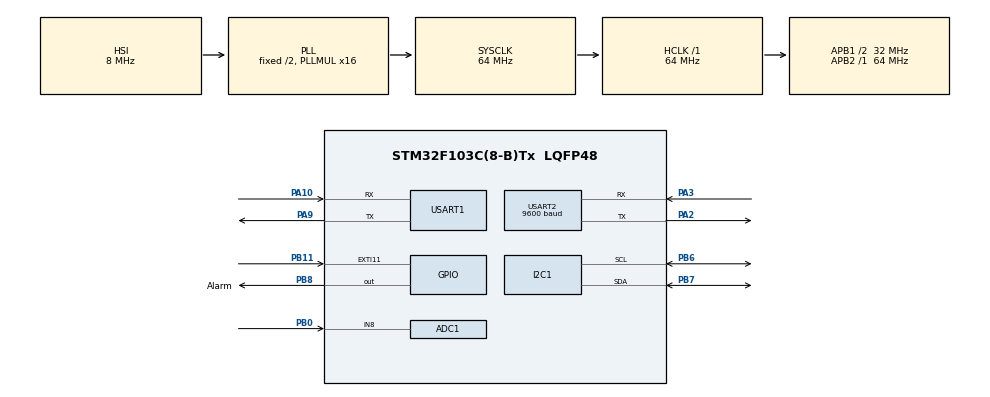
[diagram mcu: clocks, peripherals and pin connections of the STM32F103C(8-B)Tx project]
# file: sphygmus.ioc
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ADC1.Channel-1\#ChannelRegularConversion=ADC_CHANNEL_8
ADC1.EnableAnalogWatchDog=false
ADC1.NbrOfConversionFlag=1
ADC1.Rank-1\#ChannelRegularConversion=1
ADC1.SamplingTime-1\#ChannelRegularConversion=ADC_SAMPLETIME_1CYCLE_5
ADC1.master=1
I2C1.I2C_Mode=I2C_Fast
Mcu.Family=STM32F1
Mcu.Name=STM32F103C(8-B)Tx
Mcu.Package=LQFP48
NVIC.ADC1_2_IRQn=true\:0\:0\:true\:false\:true\:true\:true\:true
NVIC.EXTI15_10_IRQn=true\:7\:0\:true\:false\:true\:true\:true\:true
NVIC.PriorityGroup=NVIC_PRIORITYGROUP_4
NVIC.TIM1_UP_IRQn=true\:7\:0\:true\:false\:true\:true\:true\:true
NVIC.USART1_IRQn=true\:2\:0\:true\:false\:true\:true\:true\:true
NVIC.USART2_IRQn=true\:2\:0\:true\:false\:true\:true\:true\:true
PA10.Mode=Asynchronous
PA10.Signal=USART1_RX
PA13.Mode=Serial_Wire
PA13.Signal=SYS_JTMS-SWDIO
PA14.Mode=Serial_Wire
PA14.Signal=SYS_JTCK-SWCLK
PA2.Mode=Asynchronous
PA2.Signal=USART2_TX
PA3.Mode=Asynchronous
PA3.Signal=USART2_RX
PA9.Mode=Asynchronous
PA9.Signal=USART1_TX
PB0.Signal=ADCx_IN8
PB11.GPIO_ModeDefaultEXTI=GPIO_MODE_IT_FALLING
PB11.Signal=GPXTI11
PB6.Mode=I2C
PB6.Signal=I2C1_SCL
PB7.Mode=I2C
PB7.Signal=I2C1_SDA
PB8.GPIO_Label=Alarm
PB8.PinState=GPIO_PIN_RESET
PB8.Signal=GPIO_Output
ProjectManager.HeapSize=0x200
ProjectManager.StackSize=0x400
ProjectManager.TargetToolchain=MDK-ARM V5
RCC.ADCPresc=RCC_ADCPCLK2_DIV6
RCC.AHBFreq_Value=64000000
RCC.APB1CLKDivider=RCC_HCLK_DIV2
RCC.APB1Freq_Value=32000000
RCC.APB1TimFreq_Value=64000000
RCC.APB2Freq_Value=64000000
RCC.APB2TimFreq_Value=64000000
RCC.HCLKFreq_Value=64000000
RCC.PLLMUL=RCC_PLL_MUL16
RCC.SYSCLKFreq_VALUE=64000000
RCC.SYSCLKSource=RCC_SYSCLKSOURCE_PLLCLK
RCC.USBFreq_Value=64000000
SH.ADCx_IN8.0=ADC1_IN8,IN8
TIM1.AutoReloadPreload=TIM_AUTORELOAD_PRELOAD_ENABLE
TIM1.Period=999
TIM1.Prescaler=63
TIM2.AutoReloadPreload=TIM_AUTORELOAD_PRELOAD_DISABLE
TIM2.Period=1
TIM2.Prescaler=4
USART1.VirtualMode=VM_ASYNC
USART2.BaudRate=9600
USART2.VirtualMode=VM_ASYNC
VP_TIM1_VS_ClockSourceINT.Mode=Internal
VP_TIM2_VS_ClockSourceINT.Mode=Internal
board=custom

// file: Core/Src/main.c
/* USER CODE BEGIN Header */
/**
 ******************************************************************************
 * @file           : main.c
 * @brief          : Main program body
 ******************************************************************************
 * @attention
 *
 * Copyright (c) 2023 STMicroelectronics.
 * All rights reserved.
 *
 * This software is licensed under terms that can be found in the LICENSE file
 * in the root directory of this software component.
 * If no LICENSE file comes with this software, it is provided AS-IS.
 *
 ******************************************************************************
 */
/* USER CODE END Header */
#include "main.h"
#include "adc.h"
#include "i2c.h"
#include "tim.h"
#include "usart.h"
#include "gpio.h"

/* USER CODE BEGIN Includes */
#include <stdio.h>
#include "oled.h"

/* USER CODE END Includes */

/* USER CODE BEGIN PD */
#define MINLISTSIZE 15
#define MAXLISTSIZE 60
#define MAXTIME 100000
#define MAXSPHYFMUS 150
#define MINSPHYFMUS 50
#define UART1TIME 20
#define UART2TIME 2000
#define ADC1TIME 20
#define CLOSETIME 5000
#define MIN_DELTA 333
#define MAX_DELTA 1000
#define MAX_DELTA_DELTA 250
/* USER CODE END PD */

/* USER CODE BEGIN PV */
int too_high;                       // 报警标志
int too_low;                        // 报警标志
int is_open = 0;                    // 是否开机
int is_closed = 0;                  // 是否已经关机
int heart_beat = 0;                 // 心跳标志
uint8_t sphygmus_num;               // 测试到的心跳次数
uint16_t adc_value;                 // adc采样值
uint16_t last_value;                // 上个adc采样值
uint32_t time;                      // 当前时间
uint32_t l_time;                    // 上次心跳时间
double sphygmus;                    // 脉搏
uint32_t delta_time_list[MAXLISTSIZE]; // 脉搏间的时间间隔列表
UART_HandleTypeDef current_uart;    // 当前使用的串口
/* USER CODE END PV */

void SystemClock_Config(void);

/* USER CODE BEGIN 0 */

// 初始化
void init(void);

// 获取时间间隔
uint32_t get_delta_time(void);

// 微妙级延时
void delay_us(uint32_t nus);

// 输出
int fputc(int ch, FILE *f);

// adc采样
void adc_sample(void);

// 脉搏间隔平均值
double average(void);

// 添加时间间隔
void add_delta_time(void);

// 获取脉搏
void get_sphygmus(void);

// 数字转换为字符串
char *to_string(uint32_t num, char *str, int size);

// oled显示
void display(void);

// 报警
void give_alarm(void);

// 关机
void on_close(void);

// 开机
void start(void);
/* USER CODE END 0 */

int main(void)
{

  /* MCU Configuration--------------------------------------------------------*/

  /* Reset of all peripherals, Initializes the Flash interface and the Systick. */
  HAL_Init();

  /* Configure the system clock */
  SystemClock_Config();

  /* Initialize all configured peripherals */
  MX_GPIO_Init();
  MX_ADC1_Init();
  MX_TIM2_Init();
  MX_USART1_UART_Init();
  MX_USART2_UART_Init();
  MX_TIM1_Init();
  MX_I2C1_Init();
  /* USER CODE BEGIN 2 */
  is_open = 0;
  init();
  HAL_ADC_Start_IT(&hadc1);
  /* USER CODE END 2 */

  /* Infinite loop */
  while (1)
  {

    /* USER CODE BEGIN 3 */
    if (is_open)
    {
      display();
      give_alarm();
      get_sphygmus();
    }
    else if (!is_closed)
    {
      OLED_Clear(0x00);
      HAL_GPIO_WritePin(GPIOC, Alarm_Pin, GPIO_PIN_SET);
      is_closed = 1;
      sphygmus_num = 0;
    }
    // HAL_I2C_Master_Transmit(&hi2c1,0x78,i2cbuf,sizeof(i2cbuf),1000);
  }
  /* USER CODE END 3 */
}

void SystemClock_Config(void)
{
  RCC_OscInitTypeDef RCC_OscInitStruct = {0};
  RCC_ClkInitTypeDef RCC_ClkInitStruct = {0};
  RCC_PeriphCLKInitTypeDef PeriphClkInit = {0};

  /** Initializes the RCC Oscillators according to the specified parameters
  * in the RCC_OscInitTypeDef structure.
  */
  RCC_OscInitStruct.OscillatorType = RCC_OSCILLATORTYPE_HSI;
  RCC_OscInitStruct.HSIState = RCC_HSI_ON;
  RCC_OscInitStruct.HSICalibrationValue = RCC_HSICALIBRATION_DEFAULT;
  RCC_OscInitStruct.PLL.PLLState = RCC_PLL_ON;
  RCC_OscInitStruct.PLL.PLLSource = RCC_PLLSOURCE_HSI_DIV2;
  RCC_OscInitStruct.PLL.PLLMUL = RCC_PLL_MUL16;
  if (HAL_RCC_OscConfig(&RCC_OscInitStruct) != HAL_OK)
  {
    Error_Handler();
  }

  /** Initializes the CPU, AHB and APB buses clocks
  */
  RCC_ClkInitStruct.ClockType = RCC_CLOCKTYPE_HCLK|RCC_CLOCKTYPE_SYSCLK
                              |RCC_CLOCKTYPE_PCLK1|RCC_CLOCKTYPE_PCLK2;
  RCC_ClkInitStruct.SYSCLKSource = RCC_SYSCLKSOURCE_PLLCLK;
  RCC_ClkInitStruct.AHBCLKDivider = RCC_SYSCLK_DIV1;
  RCC_ClkInitStruct.APB1CLKDivider = RCC_HCLK_DIV2;
  RCC_ClkInitStruct.APB2CLKDivider = RCC_HCLK_DIV1;

  if (HAL_RCC_ClockConfig(&RCC_ClkInitStruct, FLASH_LATENCY_2) != HAL_OK)
  {
    Error_Handler();
  }
  PeriphClkInit.PeriphClockSelection = RCC_PERIPHCLK_ADC;
  PeriphClkInit.AdcClockSelection = RCC_ADCPCLK2_DIV6;
  if (HAL_RCCEx_PeriphCLKConfig(&PeriphClkInit) != HAL_OK)
  {
    Error_Handler();
  }
}

/* USER CODE BEGIN 4 */
// adc中断
void HAL_ADC_ConvCpltCallback(ADC_HandleTypeDef *hadc)
{
  last_value = adc_value;
  adc_value = HAL_ADC_GetValue(&hadc1);
}

// 定时器中断
void HAL_TIM_PeriodElapsedCallback(TIM_HandleTypeDef *htim)
{
  if (htim == (&htim1))
  {
    time++;
    if (time > MAXTIME)
    {
      time = 0;
    }
    if (is_open)
    {
      // 测量一次
      if (time % ADC1TIME == 0)
      {
        HAL_ADC_Start_IT(&hadc1);
      }

      // 串口1输出
      if (time % UART1TIME == 0)
      {
        current_uart = huart1;
        printf("%d %f\r\n", adc_value,sphygmus);
        // printf("%d,%f\n", adc_value, sphygmus);
      }

      // 串口2输出
      if (time % UART2TIME == 0)
      {
        current_uart = huart2;
        // printf("%f\n", average());
        printf("%f\r\n", sphygmus);
      }

      if (get_delta_time() > CLOSETIME)
      {
        on_close();
      }
    }
  }
}

// 外部中断（用于测量脉搏）
void HAL_GPIO_EXTI_Callback(uint16_t GPIO_Pin)
{
  if (GPIO_Pin & GPIO_PIN_11)
  {
    if (!is_open&&sphygmus_num>2)
    {
      start();
      l_time = time;
			sphygmus_num=0;
    }

    //HAL_GPIO_TogglePin(GPIOC, GPIO_PIN_13);
    add_delta_time();
    heart_beat = 1;
    l_time = time;
  }
}

// 初始化
void init()
{
  for (int i = 0; i < MAXLISTSIZE; i++)
  {
    delta_time_list[i] = 0;
  }
  HAL_ADC_Start_IT(&hadc1);
  HAL_TIM_Base_Start_IT(&htim1);
  HAL_ADCEx_Calibration_Start(&hadc1);
  current_uart = huart1;
  Oled_Init();
  sphygmus_num = 0;
}

// 获取时间间隔
uint32_t get_delta_time()
{
  uint32_t delta_time;
  if (time < l_time)
  {
    delta_time = MAXTIME - l_time + time;
  }
  else
  {
    delta_time = time - l_time;
  }
  return delta_time;
}

// 微妙级延时
void delay_us(uint32_t nus)
{
  __HAL_TIM_SET_COUNTER(&htim2, 0);
  __HAL_TIM_ENABLE(&htim2);
  while (__HAL_TIM_GET_COUNTER(&htim2) < nus)
  {
  }
  __HAL_TIM_DISABLE(&htim2);
}

// oled显示
void display()
{
  static char buf[] = {"rate: "};
  static char buf1[] = {"rate:"};
  static char sphygmus_str[5];

  Oled_Display_String(0, 80, buf1);
  Oled_Display_Pic(50, 50, 0, 15, heart_small);
  Oled_Display_String(0, 80, buf);
  Oled_Display_String(3, 80, to_string(sphygmus, sphygmus_str, 5));
  if (heart_beat)
  {
    heart_beat = 0;
    Oled_Display_Pic(50, 50, 0, 15, heart_large);
  }
}

// 报警
void give_alarm()
{
  static char low[] = {"too low "};
  static char high[] = {"too high"};
  static char normal[] = {"        "};
  if (too_high && is_open)
  {
    HAL_GPIO_WritePin(GPIOB, Alarm_Pin,GPIO_PIN_SET );
    Oled_Display_String(6, 10, high);
  }
  else if (too_low && is_open)
  {
    HAL_GPIO_WritePin(GPIOB, Alarm_Pin, GPIO_PIN_SET);
    Oled_Display_String(6, 10, low);
  }
  else
  {
    HAL_GPIO_WritePin(GPIOB, Alarm_Pin,GPIO_PIN_RESET );
    Oled_Display_String(6, 10, normal);
  }
}

// 关机
void on_close()
{
  is_open = 0;
  is_closed = 0;
}

// 开机
void start()
{
  is_open = 1;
  for (int i = 0; i < MAXLISTSIZE; i++)
  {
    delta_time_list[i] = 0;
  }
  // Oled_Init();
}

// 输出
int fputc(int ch, FILE *f)
{
  HAL_UART_Transmit(&current_uart, (uint8_t *)&ch, 1, 10);
  return ch;
}

// adc采样
void adc_sample()
{
  HAL_ADC_Start(&hadc1);
  HAL_ADC_PollForConversion(&hadc1, 10);
}

// 脉搏间隔平均值
double average()
{
  uint32_t sum = 0;
  for (uint8_t i = 0; i < MAXLISTSIZE; i++)
  {
    sum += delta_time_list[i];
  }
  int num = sphygmus_num > MAXLISTSIZE ? MAXLISTSIZE : sphygmus_num;
  return (float)sum / num;
}

// 添加时间间隔
void add_delta_time()
{
  uint32_t delta_time = get_delta_time();
  if (delta_time < MIN_DELTA || delta_time > MAX_DELTA)
  {
    return;
  }

  int delta_delta = delta_time > delta_time_list[MAXLISTSIZE - 1] ? delta_time - delta_time_list[MAXLISTSIZE - 1] : delta_time_list[MAXLISTSIZE - 1] - delta_time;
  if (sphygmus_num >= MINLISTSIZE && delta_delta > MAX_DELTA_DELTA)
  {
    return;
  }

  for (int i = 0; i < MAXLISTSIZE - 1; i++)
  {
    delta_time_list[i] = delta_time_list[i + 1];
  }
  delta_time_list[MAXLISTSIZE - 1] = delta_time;
  sphygmus_num++;
}

// 获取脉搏
void get_sphygmus()
{
  double avg_time = average();
  double sp = 1000.0 / avg_time * 60;
  if(sphygmus_num>MINLISTSIZE)
	{
		too_high = (sp > MAXSPHYFMUS);
		too_low = (sp < MINSPHYFMUS);
	}
  sphygmus = sp;
}

// 数字转换为字符串
char *to_string(uint32_t num, char *str, int size)
{
  static char index[] = "0123456789ABCDEFGHIJKLMNOPQRSTUVWXYZ.";

  int i = 0, j, k;

  do
  {
    str[i++] = index[num % 10];
    num /= 10;

  } while (num && i < size);
  for (; i < size - 1; i++)
  {
    str[i] = ' ';
  }

  str[i] = '\0';

  if (str[0] == '-')
    k = 1;
  else
    k = 0;

  char temp;
  for (j = k; j <= (i - 1) / 2; j++)
  {
    temp = str[j];
    str[j] = str[i - 1 + k - j];
    str[i - 1 + k - j] = temp;
  }

  return str;
}

/* USER CODE END 4 */

void Error_Handler(void)
{
  __disable_irq();
  while (1)
  {
  }
}
